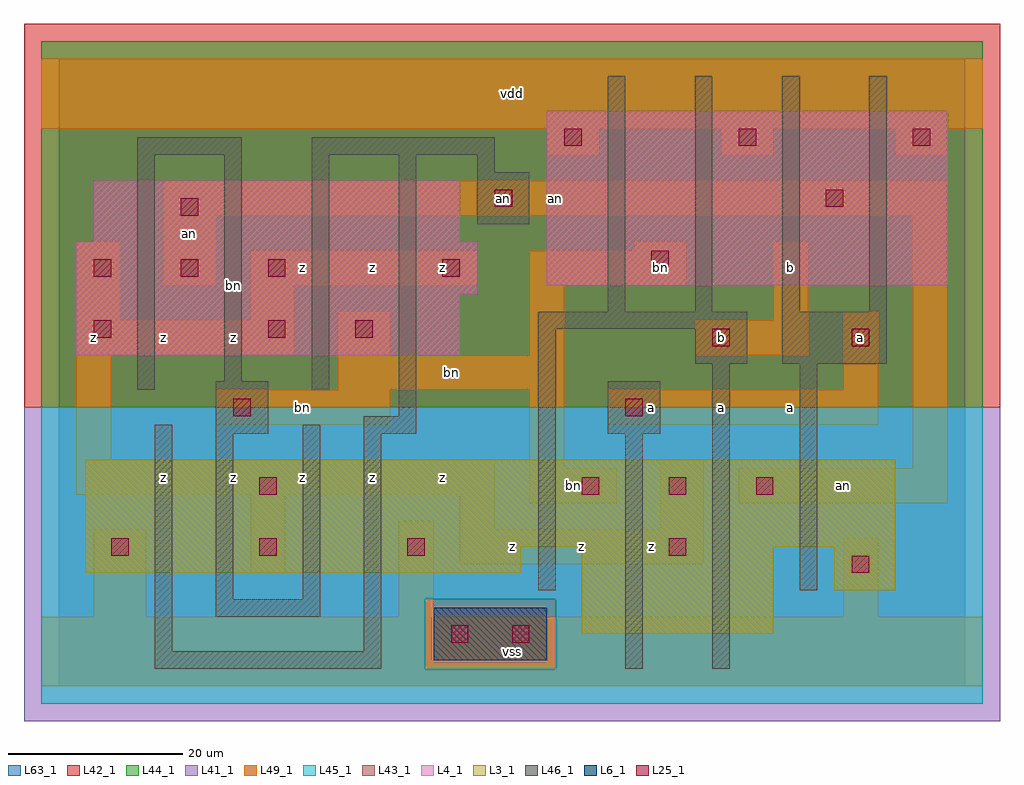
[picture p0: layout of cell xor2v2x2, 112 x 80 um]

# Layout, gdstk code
import gdstk
lib = gdstk.Library(unit=1e-6, precision=1e-09)
def R(c, l, rs):  # rectangles x0, y0, x1, y1
    for r in rs: c.add(gdstk.rectangle(r[:2], r[2:], *l))
def A(c, l, x, y, w, h, nx, ny, dx, dy):  # array of equal rectangles
    R(c, l, [(x+i*dx, y+j*dy, x+i*dx+w, y+j*dy+h) for i in range(nx) for j in range(ny)])
L3_1 = (3, 1)
L4_1 = (4, 1)
L6_1 = (6, 1)
L25_1 = (25, 1)
L41_1 = (41, 1)
L42_1 = (42, 1)
L43_1 = (43, 1)
L44_1 = (44, 1)
L45_1 = (45, 1)
L46_1 = (46, 1)
L49_1 = (49, 1)
L63_1 = (63, 1)

xor2v2x2 = lib.new_cell('xor2v2x2')
R(xor2v2x2, L3_1, [(60,6,82,16), (89,11,96,16), (3,13,53,16), (3,16,96,26)])
R(xor2v2x2, L4_1, [(2,38,46,45), (2,45,48,51), (56,46,102,66), (4,51,46,58)])
R(xor2v2x2, L6_1, [(43,3,56,9), (43,3,56,9)])
A(xor2v2x2, L25_1, 6, 15, 2, 2, 3, 1, 17, 0)
A(xor2v2x2, L25_1, 60, 22, 2, 2, 3, 1, 10, 0)
A(xor2v2x2, L25_1, 4, 47, 2, 2, 3, 1, 10, 0)
A(xor2v2x2, L25_1, 58, 62, 2, 2, 3, 1, 20, 0)
R(xor2v2x2, L25_1, [(45,5,47,7), (52,5,54,7), (91,13,93,15), (70,15,72,17), (23,22,25,24), (20,31,22,33), (65,31,67,33), (75,39,77,41), (91,39,93,41), (4,40,6,42), (24,40,26,42), (34,40,36,42), (44,47,46,49), (68,48,70,50), (14,54,16,56), (50,55,52,57), (88,55,90,57)])
R(xor2v2x2, L41_1, [(-4,-4,108,32)])
R(xor2v2x2, L42_1, [(-4,32,108,76)])
R(xor2v2x2, L43_1, [(43,3,56,9), (60,6,82,16), (89,11,96,16), (3,13,53,16), (3,16,96,26), (2,38,46,45), (2,45,48,51), (56,46,102,66), (4,51,46,58)])
R(xor2v2x2, L44_1, [(42,2,57,10), (-2,32,106,74)])
R(xor2v2x2, L45_1, [(-2,-2,106,2), (-2,2,42,10), (57,2,106,10), (-2,10,106,32)])
A(xor2v2x2, L46_1, 63, 43, 2, 27, 4, 1, 10, 0)
R(xor2v2x2, L46_1, [(11,2,37,4), (65,2,67,29), (75,2,77,37), (11,4,13,30), (35,4,37,29), (18,8,30,10), (18,10,20,29), (28,10,30,30), (55,11,57,41), (85,11,87,37), (18,29,24,35), (35,29,41,31), (63,29,69,35), (39,31,41,61), (9,34,11,61), (29,34,31,61), (19,35,21,61), (73,37,79,41), (83,37,95,43), (55,41,79,43), (48,53,54,59), (48,59,50,61), (9,61,21,63), (29,61,50,63)])
A(xor2v2x2, L49_1, 56, 61, 6, 3, 3, 1, 20, 0)
R(xor2v2x2, L49_1, [(-2,0,106,8), (4,8,10,18), (39,8,43,19), (90,8,94,17), (22,13,26,22), (46,14,74,18), (46,18,50,22), (69,18,74,26), (54,21,64,25), (78,21,102,25), (2,22,50,26), (54,25,58,34), (98,25,102,54), (2,26,6,38), (18,30,38,34), (63,30,94,34), (32,34,58,38), (90,34,94,43), (2,38,27,42), (32,38,38,43), (54,38,58,46), (73,38,86,42), (2,42,7,51), (22,42,27,46), (82,42,86,51), (12,46,18,54), (22,46,48,50), (54,46,72,50), (66,50,72,51), (12,54,102,58), (-2,64,106,72)])
R(xor2v2x2, L63_1, [(0,0,104,72)])
xor2v2x2.add(gdstk.Label('bn', (20,46), layer=46, texttype=1))
xor2v2x2.add(gdstk.Label('an', (51,56), layer=49, texttype=1))
xor2v2x2.add(gdstk.Label('z', (12,24), layer=49, texttype=1))
xor2v2x2.add(gdstk.Label('z', (4,40), layer=49, texttype=1))
xor2v2x2.add(gdstk.Label('z', (12,40), layer=49, texttype=1))
xor2v2x2.add(gdstk.Label('an', (15,52), layer=49, texttype=1))
xor2v2x2.add(gdstk.Label('z', (20,24), layer=49, texttype=1))
xor2v2x2.add(gdstk.Label('z', (28,24), layer=49, texttype=1))
xor2v2x2.add(gdstk.Label('z', (36,24), layer=49, texttype=1))
xor2v2x2.add(gdstk.Label('bn', (28,32), layer=49, texttype=1))
xor2v2x2.add(gdstk.Label('z', (20,40), layer=49, texttype=1))
xor2v2x2.add(gdstk.Label('z', (28,48), layer=49, texttype=1))
xor2v2x2.add(gdstk.Label('z', (36,48), layer=49, texttype=1))
xor2v2x2.add(gdstk.Label('vss', (52,4), layer=49, texttype=1))
xor2v2x2.add(gdstk.Label('z', (60,16), layer=49, texttype=1))
xor2v2x2.add(gdstk.Label('z', (52,16), layer=49, texttype=1))
xor2v2x2.add(gdstk.Label('z', (44,24), layer=49, texttype=1))
xor2v2x2.add(gdstk.Label('bn', (45,36), layer=49, texttype=1))
xor2v2x2.add(gdstk.Label('z', (44,48), layer=49, texttype=1))
xor2v2x2.add(gdstk.Label('vdd', (52,68), layer=49, texttype=1))
xor2v2x2.add(gdstk.Label('z', (68,16), layer=49, texttype=1))
xor2v2x2.add(gdstk.Label('bn', (59,23), layer=49, texttype=1))
xor2v2x2.add(gdstk.Label('a', (76,32), layer=49, texttype=1))
xor2v2x2.add(gdstk.Label('a', (68,32), layer=49, texttype=1))
xor2v2x2.add(gdstk.Label('b', (76,40), layer=49, texttype=1))
xor2v2x2.add(gdstk.Label('bn', (69,48), layer=49, texttype=1))
xor2v2x2.add(gdstk.Label('an', (90,23), layer=49, texttype=1))
xor2v2x2.add(gdstk.Label('a', (84,32), layer=49, texttype=1))
xor2v2x2.add(gdstk.Label('a', (92,40), layer=49, texttype=1))
xor2v2x2.add(gdstk.Label('b', (84,48), layer=49, texttype=1))
xor2v2x2.add(gdstk.Label('an', (57,56), layer=49, texttype=1))

lib.write_gds('xor2v2x2.gds')
